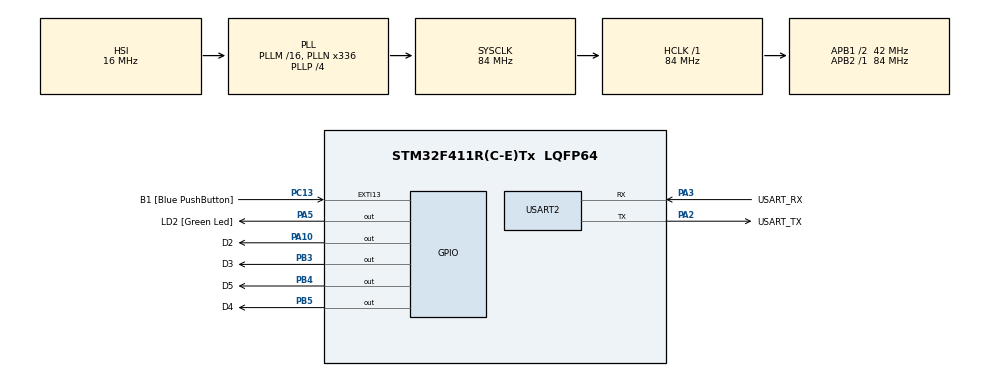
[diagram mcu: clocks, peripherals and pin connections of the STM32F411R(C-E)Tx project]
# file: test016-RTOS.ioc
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FREERTOS.Tasks01=MyTask01,0,128,StartTask01,Default,NULL,Dynamic,NULL,NULL;myTask02,-3,128,StartTask02,Default,NULL,Dynamic,NULL,NULL
FREERTOS.configUSE_NEWLIB_REENTRANT=1
Mcu.Family=STM32F4
Mcu.Name=STM32F411R(C-E)Tx
Mcu.Package=LQFP64
NVIC.EXTI15_10_IRQn=true\:5\:0\:false\:false\:true\:true\:true\:true\:true
NVIC.PriorityGroup=NVIC_PRIORITYGROUP_4
NVIC.TIM1_UP_TIM10_IRQn=true\:15\:0\:false\:false\:true\:false\:false\:true\:true
NVIC.TimeBase=TIM1_UP_TIM10_IRQn
NVIC.TimeBaseIP=TIM10
PA10.GPIO_Label=D2
PA10.Signal=GPIO_Output
PA13.GPIO_Label=TMS
PA13.Mode=Serial_Wire
PA13.Signal=SYS_JTMS-SWDIO
PA14.GPIO_Label=TCK
PA14.Mode=Serial_Wire
PA14.Signal=SYS_JTCK-SWCLK
PA2.GPIO_Label=USART_TX
PA2.Mode=Asynchronous
PA2.Signal=USART2_TX
PA3.GPIO_Label=USART_RX
PA3.Mode=Asynchronous
PA3.Signal=USART2_RX
PA5.GPIO_Label=LD2 [Green Led]
PA5.Signal=GPIO_Output
PB3.GPIO_Label=D3
PB3.Signal=GPIO_Output
PB4.GPIO_Label=D5
PB4.Signal=GPIO_Output
PB5.GPIO_Label=D4
PB5.Signal=GPIO_Output
PC13-ANTI_TAMP.GPIO_Label=B1 [Blue PushButton]
PC13-ANTI_TAMP.GPIO_ModeDefaultEXTI=GPIO_MODE_IT_FALLING
PC13-ANTI_TAMP.Signal=GPXTI13
PC14-OSC32_IN.Mode=LSE-External-Oscillator
PC14-OSC32_IN.Signal=RCC_OSC32_IN
PC15-OSC32_OUT.Mode=LSE-External-Oscillator
PC15-OSC32_OUT.Signal=RCC_OSC32_OUT
PH0\ -\ OSC_IN.Mode=HSE-External-Clock-Source
PH0\ -\ OSC_IN.Signal=RCC_OSC_IN
PH1\ -\ OSC_OUT.Mode=HSE-External-Clock-Source
PH1\ -\ OSC_OUT.Signal=RCC_OSC_OUT
ProjectManager.HeapSize=0x200
ProjectManager.StackSize=0x400
ProjectManager.TargetToolchain=STM32CubeIDE
RCC.48MHZClocksFreq_Value=84000000
RCC.AHBFreq_Value=84000000
RCC.APB1CLKDivider=RCC_HCLK_DIV2
RCC.APB1Freq_Value=42000000
RCC.APB1TimFreq_Value=84000000
RCC.APB2Freq_Value=84000000
RCC.APB2TimFreq_Value=84000000
RCC.CortexFreq_Value=84000000
RCC.FLatency-AdvancedSettings=FLASH_LATENCY_2
RCC.HCLKFreq_Value=84000000
RCC.HSE_VALUE=8000000
RCC.HSI_VALUE=16000000
RCC.PLLN=336
RCC.PLLP=RCC_PLLP_DIV4
RCC.SYSCLKFreq_VALUE=84000000
RCC.SYSCLKSource=RCC_SYSCLKSOURCE_PLLCLK
RCC.VCOOutputFreq_Value=336000000
USART2.VirtualMode=VM_ASYNC
VP_FREERTOS_VS_CMSIS_V1.Mode=CMSIS_V1
VP_SYS_VS_tim10.Mode=TIM10
board=NUCLEO-F411RE

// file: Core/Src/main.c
/* USER CODE BEGIN Header */
/**
  ******************************************************************************
  * @file           : main.c
  * @brief          : Main program body
  ******************************************************************************
  * @attention
  *
  * Copyright (c) 2025 STMicroelectronics.
  * All rights reserved.
  *
  * This software is licensed under terms that can be found in the LICENSE file
  * in the root directory of this software component.
  * If no LICENSE file comes with this software, it is provided AS-IS.
  *
  ******************************************************************************
  */
/* USER CODE END Header */
#include "main.h"
#include "cmsis_os.h"

UART_HandleTypeDef huart2;

osThreadId MyTask01Handle;
osThreadId myTask02Handle;

void SystemClock_Config(void);
static void MX_GPIO_Init(void);
static void MX_USART2_UART_Init(void);
void StartTask01(void const * argument);
void StartTask02(void const * argument);

/* USER CODE BEGIN 0 */

int bn = 0, mode = 0, step = 0;
void HAL_GPIO_EXTI_Callback(uint16_t GPIO_Pin)
{
	mode = 1;	// motor state,	0 : stop | 1 : start
	bn++;
	step = 4096 / 2 * bn * 45 / 360;  // 버튼 1회 눌릴 떄 마다 45도 회전
}

void LD2Test()
{
	HAL_GPIO_TogglePin(LD2_GPIO_Port, LD2_Pin);
}

/* USER CODE END 0 */

int main(void)
{

  /* MCU Configuration--------------------------------------------------------*/

  /* Reset of all peripherals, Initializes the Flash interface and the Systick. */
  HAL_Init();

  /* Configure the system clock */
  SystemClock_Config();

  /* Initialize all configured peripherals */
  MX_GPIO_Init();
  MX_USART2_UART_Init();

  /* Create the thread(s) */
  /* definition and creation of MyTask01 */
  osThreadDef(MyTask01, StartTask01, osPriorityNormal, 0, 128);
  MyTask01Handle = osThreadCreate(osThread(MyTask01), NULL);

  /* definition and creation of myTask02 */
  osThreadDef(myTask02, StartTask02, osPriorityIdle, 0, 128);
  myTask02Handle = osThreadCreate(osThread(myTask02), NULL);

  /* USER CODE BEGIN RTOS_THREADS */
  /* add threads, ... */

  ProgramStart("RTOS Test");

  /* USER CODE END RTOS_THREADS */

  /* Start scheduler */
  osKernelStart();

  /* We should never get here as control is now taken by the scheduler */
  /* Infinite loop */
  /* USER CODE BEGIN WHILE */

  while (1)
  {
	  LD2Test();
	  HAL_Delay(500);
    /* USER CODE END WHILE */

  }
}

void SystemClock_Config(void)
{
  RCC_OscInitTypeDef RCC_OscInitStruct = {0};
  RCC_ClkInitTypeDef RCC_ClkInitStruct = {0};

  /** Configure the main internal regulator output voltage
  */
  __HAL_RCC_PWR_CLK_ENABLE();
  __HAL_PWR_VOLTAGESCALING_CONFIG(PWR_REGULATOR_VOLTAGE_SCALE1);

  /** Initializes the RCC Oscillators according to the specified parameters
  * in the RCC_OscInitTypeDef structure.
  */
  RCC_OscInitStruct.OscillatorType = RCC_OSCILLATORTYPE_HSI;
  RCC_OscInitStruct.HSIState = RCC_HSI_ON;
  RCC_OscInitStruct.HSICalibrationValue = RCC_HSICALIBRATION_DEFAULT;
  RCC_OscInitStruct.PLL.PLLState = RCC_PLL_ON;
  RCC_OscInitStruct.PLL.PLLSource = RCC_PLLSOURCE_HSI;
  RCC_OscInitStruct.PLL.PLLM = 16;
  RCC_OscInitStruct.PLL.PLLN = 336;
  RCC_OscInitStruct.PLL.PLLP = RCC_PLLP_DIV4;
  RCC_OscInitStruct.PLL.PLLQ = 4;
  if (HAL_RCC_OscConfig(&RCC_OscInitStruct) != HAL_OK)
  {
    Error_Handler();
  }

  /** Initializes the CPU, AHB and APB buses clocks
  */
  RCC_ClkInitStruct.ClockType = RCC_CLOCKTYPE_HCLK|RCC_CLOCKTYPE_SYSCLK
                              |RCC_CLOCKTYPE_PCLK1|RCC_CLOCKTYPE_PCLK2;
  RCC_ClkInitStruct.SYSCLKSource = RCC_SYSCLKSOURCE_PLLCLK;
  RCC_ClkInitStruct.AHBCLKDivider = RCC_SYSCLK_DIV1;
  RCC_ClkInitStruct.APB1CLKDivider = RCC_HCLK_DIV2;
  RCC_ClkInitStruct.APB2CLKDivider = RCC_HCLK_DIV1;

  if (HAL_RCC_ClockConfig(&RCC_ClkInitStruct, FLASH_LATENCY_2) != HAL_OK)
  {
    Error_Handler();
  }
}

static void MX_USART2_UART_Init(void)
{

  huart2.Instance = USART2;
  huart2.Init.BaudRate = 115200;
  huart2.Init.WordLength = UART_WORDLENGTH_8B;
  huart2.Init.StopBits = UART_STOPBITS_1;
  huart2.Init.Parity = UART_PARITY_NONE;
  huart2.Init.Mode = UART_MODE_TX_RX;
  huart2.Init.HwFlowCtl = UART_HWCONTROL_NONE;
  huart2.Init.OverSampling = UART_OVERSAMPLING_16;
  if (HAL_UART_Init(&huart2) != HAL_OK)
  {
    Error_Handler();
  }

}

static void MX_GPIO_Init(void)
{
  GPIO_InitTypeDef GPIO_InitStruct = {0};

  /* GPIO Ports Clock Enable */
  __HAL_RCC_GPIOC_CLK_ENABLE();
  __HAL_RCC_GPIOH_CLK_ENABLE();
  __HAL_RCC_GPIOA_CLK_ENABLE();
  __HAL_RCC_GPIOB_CLK_ENABLE();

  /*Configure GPIO pin Output Level */
  HAL_GPIO_WritePin(GPIOA, LD2_Pin|D2_Pin, GPIO_PIN_RESET);

  /*Configure GPIO pin Output Level */
  HAL_GPIO_WritePin(GPIOB, D3_Pin|D5_Pin|D4_Pin, GPIO_PIN_RESET);

  /*Configure GPIO pin : B1_Pin */
  GPIO_InitStruct.Pin = B1_Pin;
  GPIO_InitStruct.Mode = GPIO_MODE_IT_FALLING;
  GPIO_InitStruct.Pull = GPIO_NOPULL;
  HAL_GPIO_Init(B1_GPIO_Port, &GPIO_InitStruct);

  /*Configure GPIO pins : LD2_Pin D2_Pin */
  GPIO_InitStruct.Pin = LD2_Pin|D2_Pin;
  GPIO_InitStruct.Mode = GPIO_MODE_OUTPUT_PP;
  GPIO_InitStruct.Pull = GPIO_NOPULL;
  GPIO_InitStruct.Speed = GPIO_SPEED_FREQ_LOW;
  HAL_GPIO_Init(GPIOA, &GPIO_InitStruct);

  /*Configure GPIO pins : D3_Pin D5_Pin D4_Pin */
  GPIO_InitStruct.Pin = D3_Pin|D5_Pin|D4_Pin;
  GPIO_InitStruct.Mode = GPIO_MODE_OUTPUT_PP;
  GPIO_InitStruct.Pull = GPIO_NOPULL;
  GPIO_InitStruct.Speed = GPIO_SPEED_FREQ_LOW;
  HAL_GPIO_Init(GPIOB, &GPIO_InitStruct);

  /* EXTI interrupt init*/
  HAL_NVIC_SetPriority(EXTI15_10_IRQn, 5, 0);
  HAL_NVIC_EnableIRQ(EXTI15_10_IRQn);

}

void StartTask01(void const * argument)
{
  /* USER CODE BEGIN 5 */
	int n1 = 0;
  /* Infinite loop */
  for(;;)
  {
	  LD2Test();
	  cursor(0, 0);
	  printf("LD2 Flashed %d times(Task 1)",n1++);
	  //HAL_Delay(500);
	  osDelay(500);
  }
  /* USER CODE END 5 */
}

void StartTask02(void const * argument)
{
  /* USER CODE BEGIN StartTask02 */

  /* Infinite loop */
  for(;;)
  {
//	  int d;
//	  printf("Input Degree : "); scanf("%d", &d);
//	  int step = 4096 * d / 360;  // 순차 계산 과정에서 나누기가 먼저 되면 int 계산에 따라 소숫점 자리가 탈락하여 오차가 커짐
//	  printf("Wave(Full) : %d Steps, Half : %d Steps",step/2, step);

	  cursor(0, 10);
	  if(mode)
	  {
		  int phase;
		  int state = phase % 4;
//		  printf("B1 Button Pressed .... %d time", bn);

		  for(phase = 0; phase < step;)
		  {
			  cursor(0, 10);
			  printf("B1 Button Pressed .... %d time", bn);
			  //phase1
			  HAL_GPIO_WritePin(D2_GPIO_Port, D2_Pin, 1);
			  HAL_GPIO_WritePin(D3_GPIO_Port, D3_Pin, 0);
			  HAL_GPIO_WritePin(D4_GPIO_Port, D4_Pin, 0);
			  HAL_GPIO_WritePin(D5_GPIO_Port, D5_Pin, 0);
			  osDelay(10);
			  phase += 1;
			  if(phase > step) break;

			  //phase2
			  HAL_GPIO_WritePin(D2_GPIO_Port, D2_Pin, 0);
			  HAL_GPIO_WritePin(D3_GPIO_Port, D3_Pin, 1);
			  HAL_GPIO_WritePin(D4_GPIO_Port, D4_Pin, 0);
			  HAL_GPIO_WritePin(D5_GPIO_Port, D5_Pin, 0);
			  osDelay(10);
			  phase += 1;
			  if(phase > step) break;

			  //phase3
			  HAL_GPIO_WritePin(D2_GPIO_Port, D2_Pin, 0);
			  HAL_GPIO_WritePin(D3_GPIO_Port, D3_Pin, 0);
			  HAL_GPIO_WritePin(D4_GPIO_Port, D4_Pin, 1);
			  HAL_GPIO_WritePin(D5_GPIO_Port, D5_Pin, 0);
			  osDelay(10);
			  phase += 1;
			  if(phase > step) break;

			  //phase4
			  HAL_GPIO_WritePin(D2_GPIO_Port, D2_Pin, 0);
			  HAL_GPIO_WritePin(D3_GPIO_Port, D3_Pin, 0);
			  HAL_GPIO_WritePin(D4_GPIO_Port, D4_Pin, 0);
			  HAL_GPIO_WritePin(D5_GPIO_Port, D5_Pin, 1);
			  osDelay(10);
			  phase += 1;
		  }
		  phase = 0;
		  mode = 0;
		  bn = 0;
	  }
	  else
	  {
		  printf("=====wait to press B1=====");
	  }

	  osDelay(500);
  }
  /* USER CODE END StartTask02 */
}

void HAL_TIM_PeriodElapsedCallback(TIM_HandleTypeDef *htim)
{
  if (htim->Instance == TIM10) {
    HAL_IncTick();
  }
}

void Error_Handler(void)
{
  __disable_irq();
  while (1)
  {
  }
}
